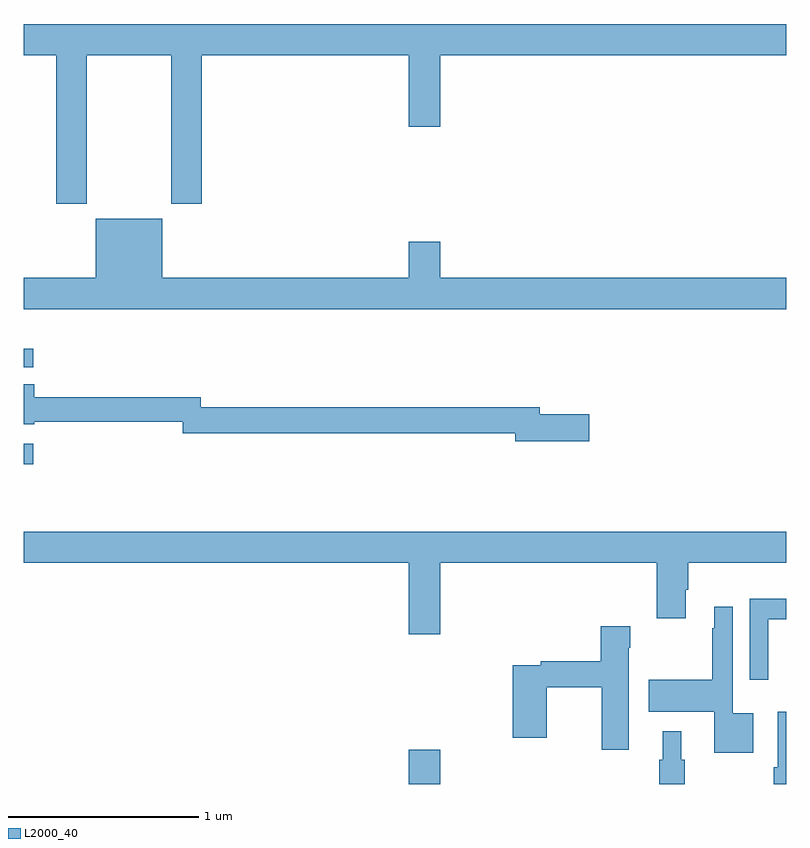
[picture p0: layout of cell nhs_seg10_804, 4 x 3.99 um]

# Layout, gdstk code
import gdstk
lib = gdstk.Library(unit=1e-6, precision=1e-09)
def R(c, l, rs):  # rectangles x0, y0, x1, y1
    for r in rs: c.add(gdstk.rectangle(r[:2], r[2:], *l))
def P(c, l, *ps):  # polygons
    for p in ps: c.add(gdstk.Polygon(p, *l))
L2000_40 = (2000, 40)

nhs_seg10_804 = lib.new_cell('nhs_seg10_804')
R(nhs_seg10_804, L2000_40, [(153.02,1288.5,153.184,1288.681), (151,1290.177,151.048,1290.285), (151,1290.687,151.048,1290.783)])
P(nhs_seg10_804, L2000_40, [(151,1292.324),(151.169,1292.324),(151.169,1291.545),(151.329,1291.545),(151.329,1292.324),(151.774,1292.324),(151.774,1291.545),(151.934,1291.545),(151.934,1292.324),(153.02,1292.324),(153.02,1291.95),(153.184,1291.95),(153.184,1292.324),(155,1292.324),(155,1292.488),(151,1292.488)],
  [(155,1291.156),(153.184,1291.156),(153.184,1291.345),(153.02,1291.345),(153.02,1291.156),(151.726,1291.156),(151.726,1291.465),(151.376,1291.465),(151.376,1291.156),(151,1291.156),(151,1290.992),(155,1290.992)],
  [(153.967,1290.44),(153.706,1290.44),(153.706,1290.476),(151.929,1290.476),(151.929,1290.529),(151.054,1290.529),(151.054,1290.598),(151,1290.598),(151,1290.389),(151.054,1290.389),(151.054,1290.4),(151.833,1290.4),(151.833,1290.34),(153.578,1290.34),(153.578,1290.298),(153.967,1290.298)],
  [(153.184,1289.66),(154.322,1289.66),(154.322,1289.37),(154.474,1289.37),(154.474,1289.518),(154.487,1289.518),(154.487,1289.66),(155,1289.66),(155,1289.824),(151,1289.824),(151,1289.66),(153.02,1289.66),(153.02,1289.286),(153.184,1289.286)],
  [(154.906,1289.364),(155,1289.364),(155,1289.472),(154.809,1289.472),(154.809,1289.046),(154.906,1289.046)],
  [(154.828,1288.87),(154.719,1288.87),(154.719,1289.431),(154.622,1289.431),(154.622,1289.318),(154.611,1289.318),(154.611,1289.046),(154.278,1289.046),(154.278,1288.88),(154.622,1288.88),(154.622,1288.664),(154.828,1288.664)],
  [(154.174,1289.216),(154.182,1289.216),(154.182,1289.329),(154.028,1289.329),(154.028,1289.144),(153.712,1289.144),(153.712,1289.124),(153.566,1289.124),(153.566,1288.743),(153.744,1288.743),(153.744,1289.008),(154.033,1289.008),(154.033,1288.68),(154.174,1288.68)],
  [(155,1288.879),(154.956,1288.879),(154.956,1288.588),(154.936,1288.588),(154.936,1288.5),(155,1288.5)],
  [(154.469,1288.626),(154.45,1288.626),(154.45,1288.777),(154.352,1288.777),(154.352,1288.626),(154.333,1288.626),(154.333,1288.5),(154.469,1288.5)])

lib.write_gds('nhs_seg10_804.gds')
